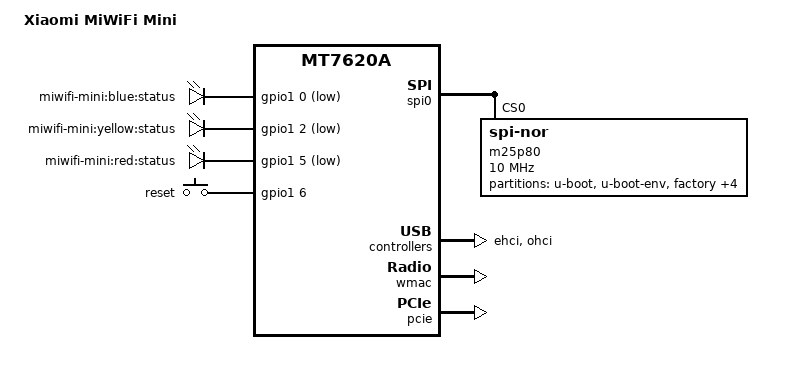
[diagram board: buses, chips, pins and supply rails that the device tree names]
/dts-v1/;

#include "mt7620a.dtsi"

#include <dt-bindings/gpio/gpio.h>
#include <dt-bindings/input/input.h>

/ {
	compatible = "xiaomi,miwifi-mini", "ralink,mt7620a-soc";
	model = "Xiaomi MiWiFi Mini";

	aliases {
		led-boot = &led_blue;
		led-failsafe = &led_blue;
		led-running = &led_blue;
		led-upgrade = &led_blue;
	};

	chosen {
		bootargs = "console=ttyS0,115200";
	};

	leds {
		compatible = "gpio-leds";

		led_blue: blue {
			label = "miwifi-mini:blue:status";
			gpios = <&gpio1 0 GPIO_ACTIVE_LOW>;
			default-state = "on";
		};

		yellow {
			label = "miwifi-mini:yellow:status";
			gpios = <&gpio1 2 GPIO_ACTIVE_LOW>;
		};

		red {
			label = "miwifi-mini:red:status";
			gpios = <&gpio1 5 GPIO_ACTIVE_LOW>;
		};
	};

	keys {
		compatible = "gpio-keys-polled";
		poll-interval = <20>;

		reset {
			label = "reset";
			gpios = <&gpio1 6 GPIO_ACTIVE_HIGH>;
			linux,code = <KEY_RESTART>;
		};
	};
};

&gpio0 {
	status = "okay";
};

&gpio1 {
	status = "okay";
};

&gpio2 {
	status = "okay";
};

&spi0 {
	status = "okay";

	m25p80@0 {
		compatible = "jedec,spi-nor";
		reg = <0>;
		spi-max-frequency = <10000000>;

		partitions {
			compatible = "fixed-partitions";
			#address-cells = <1>;
			#size-cells = <1>;

			partition@0 {
				label = "u-boot";
				reg = <0x0 0x30000>;
			};

			partition@30000 {
				label = "u-boot-env";
				reg = <0x30000 0x10000>;
				read-only;
			};

			factory: partition@40000 {
				label = "factory";
				reg = <0x40000 0x10000>;
				read-only;
			};

			partition@50000 {
				compatible = "denx,uimage";
				label = "firmware";
				reg = <0x50000 0xf80000>;
			};

			partition@fd0000 {
				label = "crash";
				reg = <0xfd0000 0x10000>;
			};

			partition@fe0000 {
				label = "reserved";
				reg = <0xfe0000 0x10000>;
				read-only;
			};

			partition@ff0000 {
				label = "Bdata";
				reg = <0xff0000 0x10000>;
			};
		};
	};
};

&ehci {
	status = "okay";
};

&ohci {
	status = "okay";
};

&ethernet {
	pinctrl-names = "default";
	pinctrl-0 = <&ephy_pins>;
	mtd-mac-address = <&factory 0x28>;
	mediatek,portmap = "llllw";
};

&wmac {
	ralink,mtd-eeprom = <&factory 0>;
	pinctrl-names = "default";
	pinctrl-0 = <&pa_pins>;
};

&pcie {
	status = "okay";
};

&pcie0 {
	mt76@0,0 {
		reg = <0x0000 0 0 0 0>;
		mediatek,mtd-eeprom = <&factory 0x8000>;
		ieee80211-freq-limit = <5000000 6000000>;
	};
};

&pinctrl {
	state_default: pinctrl0 {
		gpio {
			ralink,group = "i2c", "rgmii1";
			ralink,function = "gpio";
		};
	};
};
